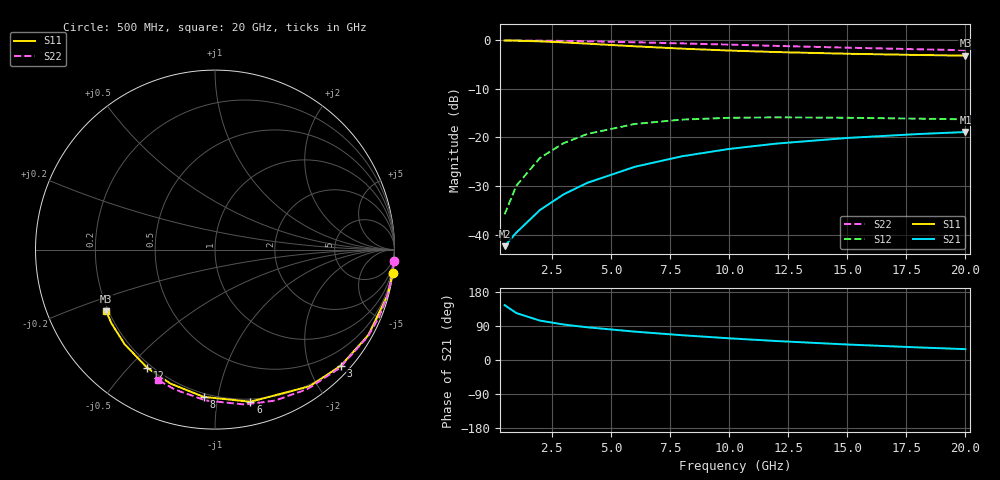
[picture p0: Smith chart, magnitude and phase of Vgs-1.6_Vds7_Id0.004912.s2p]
# Hz S RI R 50
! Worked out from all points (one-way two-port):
!   12 points, 500 MHz to 20 GHz, reference 50 ohm
!   highest |S21| = -18.88 dB at 20 GHz (marker M1); lowest = -42.4 dB at 500 MHz (marker M2)
!   lowest |S11| = -3.1 dB at 20 GHz (marker M3), VSWR 5.61, Z = 9.51 - j12.7 ohm
!   |S11| at or under -10 dB: nowhere
!   |S22| runs from -2.0 to 0.0 dB; largest |S21 - S12| = 0.12
!   S11 on the Smith chart (normalised r, x): 500 MHz: 0, -15; 3 GHz: 0.18, -2.55; 6 GHz: 0.18, -1.24; 8 GHz: 0.18, -0.91; 12 GHz: 0.18, -0.56; 20 GHz: 0.19, -0.25
5e8  0.9901 -0.1292  -0.00621 0.00437  0.00153 0.0161  0.9971 -0.0658
1e9  0.9611 -0.2541  -0.00583 0.00873  0.006 0.0314  0.9897 -0.131
2e9  0.8538 -0.4766  -0.00429 0.0174  0.0224 0.0575  0.9604 -0.2578
3e9  0.701 -0.6471  -0.00163 0.0259  0.0451 0.0749  0.9135 -0.3766
4e9  0.5282 -0.761  0.0022 0.034  0.0698 0.0832  0.8514 -0.4847
6e9  0.1975 -0.8477  0.013 0.0481  0.1129 0.0787  0.6946 -0.6597
8e9  -0.0628 -0.8207  0.0266 0.0582  0.1407 0.0598  0.5147 -0.7772
1e10  -0.2489 -0.746  0.0412 0.0641  0.1548 0.0382  0.3338 -0.8413
1.2e10  -0.3786 -0.6576  0.0555 0.0663  0.1601 0.0188  0.1649 -0.863
1.5e10  -0.5032 -0.5276  0.0747 0.0647  0.1596 -0.00368  -0.0527 -0.8406
1.8e10  -0.5763 -0.4117  0.0908 0.0594  0.1551 -0.0194  -0.2242 -0.7792
2e10  -0.6072 -0.3429  0.0998 0.0546  0.1515 -0.0272  -0.3156 -0.727
